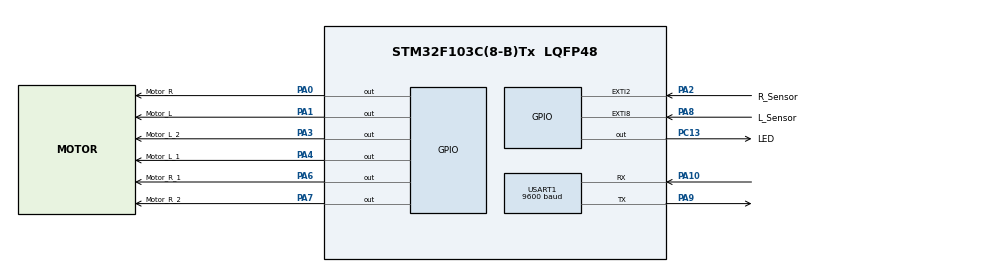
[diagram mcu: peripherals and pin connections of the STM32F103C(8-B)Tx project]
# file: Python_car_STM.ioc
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Mcu.Family=STM32F1
PD1-OSC_OUT.Mode=HSE-External-Oscillator
PA10.Mode=Asynchronous
USART1.BaudRate=9600
PC13-TAMPER-RTC.Signal=GPIO_Output
PA6.GPIO_Label=Motor_R_1
PD0-OSC_IN.Signal=RCC_OSC_IN
RCC.SYSCLKSource=RCC_SYSCLKSOURCE_HSE
ProjectManager.StackSize=0x400
PA0-WKUP.GPIO_Label=Motor_R
PA0-WKUP.Signal=GPIO_Output
PD1-OSC_OUT.Signal=RCC_OSC_OUT
PA13.Signal=SYS_JTMS-SWDIO
PA9.Mode=Asynchronous
PA8.GPIO_Label=L_Sensor
ProjectManager.TargetToolchain=STM32CubeIDE
PA9.Signal=USART1_TX
PA1.Signal=GPIO_Output
PD0-OSC_IN.Mode=HSE-External-Oscillator
board=custom
PC13-TAMPER-RTC.GPIO_Label=LED
RCC.APB2Freq_Value=8000000
PA14.Mode=Serial_Wire
PA1.GPIO_Label=Motor_L
PA8.Signal=GPXTI8
PA13.Mode=Serial_Wire
Mcu.Name=STM32F103C(8-B)Tx
PA2.Signal=GPXTI2
PA4.Signal=GPIO_Output
Mcu.Package=LQFP48
PA6.Signal=GPIO_Output
PA7.GPIO_Label=Motor_R_2
USART1.VirtualMode=VM_ASYNC
PA2.GPIO_Label=R_Sensor
NVIC.EXTI9_5_IRQn=true\:0\:0\:false\:false\:true\:true\:true
PA10.Signal=USART1_RX
PA14.Signal=SYS_JTCK-SWCLK
ProjectManager.HeapSize=0x200
NVIC.PriorityGroup=NVIC_PRIORITYGROUP_4
NVIC.EXTI2_IRQn=true\:0\:0\:false\:false\:true\:true\:true
NVIC.USART1_IRQn=true\:0\:0\:false\:false\:true\:true\:true
RCC.APB1Freq_Value=8000000
PA4.GPIO_Label=Motor_L_1
PA3.GPIO_Label=Motor_L_2
PA3.Signal=GPIO_Output
PA7.Signal=GPIO_Output

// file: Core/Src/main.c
/* USER CODE BEGIN Header */
/**
  ******************************************************************************
  * @file           : main.c
  * @brief          : Main program body
  ******************************************************************************
  * @attention
  *
  * <h2><center>&copy; Copyright (c) 2021 STMicroelectronics.
  * All rights reserved.</center></h2>
  *
  * This software component is licensed by ST under BSD 3-Clause license,
  * the "License"; You may not use this file except in compliance with the
  * License. You may obtain a copy of the License at:
  *                        opensource.org/licenses/BSD-3-Clause
  *
  ******************************************************************************
  */
/* USER CODE END Header */
#include "main.h"

/* USER CODE BEGIN Includes */

#include <string.h>
#include <ctype.h>

/* USER CODE END Includes */

UART_HandleTypeDef huart1;

/* USER CODE BEGIN PV */

uint8_t count_l = 0; //counter of the left speed sensor
uint8_t count_r = 0; //counter of the right speed sensor

uint8_t buf[5]; //buf[0] - direction of rotation, buf[1] - count of step
uint8_t command[4]; //commands to execute, similar to buf
uint8_t delay;
uint8_t dataReceived = 0; // flag for receiving data

/* USER CODE END PV */

void SystemClock_Config(void);
static void MX_GPIO_Init(void);
static void MX_USART1_UART_Init(void);

int main(void)
{

  /* MCU Configuration--------------------------------------------------------*/

  /* Reset of all peripherals, Initializes the Flash interface and the Systick. */
  HAL_Init();

  /* Configure the system clock */
  SystemClock_Config();

  /* Initialize all configured peripherals */
  MX_GPIO_Init();
  MX_USART1_UART_Init();

  /* Infinite loop */
  /* USER CODE BEGIN WHILE */

  while (1)
  {
	  HAL_UART_Receive_IT (&huart1, buf, 1);

	  if (buf[0] == ';')
	  {
		  HAL_GPIO_TogglePin(GPIOC, LED_Pin);

		  HAL_UART_Receive_IT (&huart1, buf, 2);

		  while( HAL_UART_GetState (&huart1) == HAL_UART_STATE_BUSY_RX );

		  command[0] = buf[0];
		  command[1] = buf[1];

		  dataReceived = 1;

	  }

	  if (dataReceived)
	  {
		  delay = (uint8_t)(command[1] - '0');

		  //HAL_UART_Transmit_IT (&huart1, buf, 2);

		  switch (command[0])
		  {
			  case '1': //forward

				  count_l = 0;
				  count_r = 0;
				  HAL_GPIO_WritePin(GPIOA, Motor_L_Pin, 1);

				  HAL_GPIO_WritePin(GPIOA, Motor_L_1_Pin, 1);
				  HAL_GPIO_WritePin(GPIOA, Motor_L_2_Pin, 0);

				  HAL_GPIO_WritePin(GPIOA, Motor_R_Pin, 1);

				  HAL_GPIO_WritePin(GPIOA, Motor_R_1_Pin, 1);
				  HAL_GPIO_WritePin(GPIOA, Motor_R_2_Pin, 0);

				  while (count_l < delay) {}
				  HAL_GPIO_WritePin(GPIOA, Motor_L_Pin, 0);
				  HAL_GPIO_WritePin(GPIOA, Motor_R_Pin, 0);

				  dataReceived = 0;
				  break;

			  case '2': //back
				  count_l = 0;
				  count_r = 0;
				  HAL_GPIO_WritePin(GPIOA, Motor_L_Pin, 1);

				  HAL_GPIO_WritePin(GPIOA, Motor_L_1_Pin, 0);
				  HAL_GPIO_WritePin(GPIOA, Motor_L_2_Pin, 1);

				  HAL_GPIO_WritePin(GPIOA, Motor_R_Pin, 1);

				  HAL_GPIO_WritePin(GPIOA, Motor_R_1_Pin, 0);
				  HAL_GPIO_WritePin(GPIOA, Motor_R_2_Pin, 1);

				  while (count_r < delay) {}
				  HAL_GPIO_WritePin(GPIOA, Motor_L_Pin, 0);
				  HAL_GPIO_WritePin(GPIOA, Motor_R_Pin, 0);

				  dataReceived = 0;
				  break;

			  case '3': //left

				  count_l = 0;
				  count_r = 0;
				  HAL_GPIO_WritePin(GPIOA, Motor_L_Pin, 1);

				  HAL_GPIO_WritePin(GPIOA, Motor_L_1_Pin, 0);
				  HAL_GPIO_WritePin(GPIOA, Motor_L_2_Pin, 0);

				  HAL_GPIO_WritePin(GPIOA, Motor_R_Pin, 1);

				  HAL_GPIO_WritePin(GPIOA, Motor_R_1_Pin, 1);
				  HAL_GPIO_WritePin(GPIOA, Motor_R_2_Pin, 0);

				  while (count_r < delay) {}
				  HAL_GPIO_WritePin(GPIOA, Motor_L_Pin, 0);
				  HAL_GPIO_WritePin(GPIOA, Motor_R_Pin, 0);

				  dataReceived = 0;
				  break;

			  case '4': //right

				  count_l = 0;
				  count_r = 0;
				  HAL_GPIO_WritePin(GPIOA, Motor_L_Pin, 1);

				  HAL_GPIO_WritePin(GPIOA, Motor_L_1_Pin, 1);
				  HAL_GPIO_WritePin(GPIOA, Motor_L_2_Pin, 0);

				  HAL_GPIO_WritePin(GPIOA, Motor_R_Pin, 1);

				  HAL_GPIO_WritePin(GPIOA, Motor_R_1_Pin, 0);
				  HAL_GPIO_WritePin(GPIOA, Motor_R_2_Pin, 0);

				  while (count_l < delay) {}
				  HAL_GPIO_WritePin(GPIOA, Motor_L_Pin, 0);
				  HAL_GPIO_WritePin(GPIOA, Motor_R_Pin, 0);

				  dataReceived = 0;
				  break;
		  }
		  //huart1.Init.Mode = UART_MODE_TX_RX;
	  }

    /* USER CODE END WHILE */

  }
}

void SystemClock_Config(void)
{
  RCC_OscInitTypeDef RCC_OscInitStruct = {0};
  RCC_ClkInitTypeDef RCC_ClkInitStruct = {0};

  /** Initializes the RCC Oscillators according to the specified parameters
  * in the RCC_OscInitTypeDef structure.
  */
  RCC_OscInitStruct.OscillatorType = RCC_OSCILLATORTYPE_HSE;
  RCC_OscInitStruct.HSEState = RCC_HSE_ON;
  RCC_OscInitStruct.PLL.PLLState = RCC_PLL_NONE;
  if (HAL_RCC_OscConfig(&RCC_OscInitStruct) != HAL_OK)
  {
    Error_Handler();
  }
  /** Initializes the CPU, AHB and APB buses clocks
  */
  RCC_ClkInitStruct.ClockType = RCC_CLOCKTYPE_HCLK|RCC_CLOCKTYPE_SYSCLK
                              |RCC_CLOCKTYPE_PCLK1|RCC_CLOCKTYPE_PCLK2;
  RCC_ClkInitStruct.SYSCLKSource = RCC_SYSCLKSOURCE_HSE;
  RCC_ClkInitStruct.AHBCLKDivider = RCC_SYSCLK_DIV1;
  RCC_ClkInitStruct.APB1CLKDivider = RCC_HCLK_DIV1;
  RCC_ClkInitStruct.APB2CLKDivider = RCC_HCLK_DIV1;

  if (HAL_RCC_ClockConfig(&RCC_ClkInitStruct, FLASH_LATENCY_0) != HAL_OK)
  {
    Error_Handler();
  }
}

static void MX_USART1_UART_Init(void)
{

  huart1.Instance = USART1;
  huart1.Init.BaudRate = 9600;
  huart1.Init.WordLength = UART_WORDLENGTH_8B;
  huart1.Init.StopBits = UART_STOPBITS_1;
  huart1.Init.Parity = UART_PARITY_NONE;
  huart1.Init.Mode = UART_MODE_TX_RX;
  huart1.Init.HwFlowCtl = UART_HWCONTROL_NONE;
  huart1.Init.OverSampling = UART_OVERSAMPLING_16;
  if (HAL_UART_Init(&huart1) != HAL_OK)
  {
    Error_Handler();
  }

}

static void MX_GPIO_Init(void)
{
  GPIO_InitTypeDef GPIO_InitStruct = {0};

  /* GPIO Ports Clock Enable */
  __HAL_RCC_GPIOC_CLK_ENABLE();
  __HAL_RCC_GPIOD_CLK_ENABLE();
  __HAL_RCC_GPIOA_CLK_ENABLE();

  /*Configure GPIO pin Output Level */
  HAL_GPIO_WritePin(LED_GPIO_Port, LED_Pin, GPIO_PIN_RESET);

  /*Configure GPIO pin Output Level */
  HAL_GPIO_WritePin(GPIOA, Motor_R_Pin|Motor_L_Pin|Motor_L_2_Pin|Motor_L_1_Pin
                          |Motor_R_1_Pin|Motor_R_2_Pin, GPIO_PIN_RESET);

  /*Configure GPIO pin : LED_Pin */
  GPIO_InitStruct.Pin = LED_Pin;
  GPIO_InitStruct.Mode = GPIO_MODE_OUTPUT_PP;
  GPIO_InitStruct.Pull = GPIO_NOPULL;
  GPIO_InitStruct.Speed = GPIO_SPEED_FREQ_LOW;
  HAL_GPIO_Init(LED_GPIO_Port, &GPIO_InitStruct);

  /*Configure GPIO pins : Motor_R_Pin Motor_L_Pin Motor_L_2_Pin Motor_L_1_Pin
                           Motor_R_1_Pin Motor_R_2_Pin */
  GPIO_InitStruct.Pin = Motor_R_Pin|Motor_L_Pin|Motor_L_2_Pin|Motor_L_1_Pin
                          |Motor_R_1_Pin|Motor_R_2_Pin;
  GPIO_InitStruct.Mode = GPIO_MODE_OUTPUT_PP;
  GPIO_InitStruct.Pull = GPIO_NOPULL;
  GPIO_InitStruct.Speed = GPIO_SPEED_FREQ_LOW;
  HAL_GPIO_Init(GPIOA, &GPIO_InitStruct);

  /*Configure GPIO pins : R_Sensor_Pin L_Sensor_Pin */
  GPIO_InitStruct.Pin = R_Sensor_Pin|L_Sensor_Pin;
  GPIO_InitStruct.Mode = GPIO_MODE_IT_RISING;
  GPIO_InitStruct.Pull = GPIO_NOPULL;
  HAL_GPIO_Init(GPIOA, &GPIO_InitStruct);

  /* EXTI interrupt init*/
  HAL_NVIC_SetPriority(EXTI2_IRQn, 0, 0);
  HAL_NVIC_EnableIRQ(EXTI2_IRQn);

  HAL_NVIC_SetPriority(EXTI9_5_IRQn, 0, 0);
  HAL_NVIC_EnableIRQ(EXTI9_5_IRQn);

}

/* USER CODE BEGIN 4 */

/*
void HAL_UART_RxCpltCallback(UART_HandleTypeDef *huart) {

  if(huart == &huart1) {

    dataReceived = 1;

    command[0] = buf[0];
    command[1] = buf[1];

    //str[3] = 0;//end \0 in string

    //HAL_UART_Transmit_IT (&huart1, str, 1);

    if (!strcmp(str, "1"))
    {
    	HAL_GPIO_WritePin(GPIOC, LED_Pin, 1);
    }
    else if (!strcmp(str, "0"))
	{
		HAL_GPIO_WritePin(GPIOC, LED_Pin, 0);
	}*/

//    HAL_UART_Receive_IT (&huart1, buf, 1);

//  }
//}

/* USER CODE END 4 */

void Error_Handler(void)
{
  __disable_irq();
  while (1)
  {
  }
}

/************************ (C) COPYRIGHT STMicroelectronics *****END OF FILE****/
